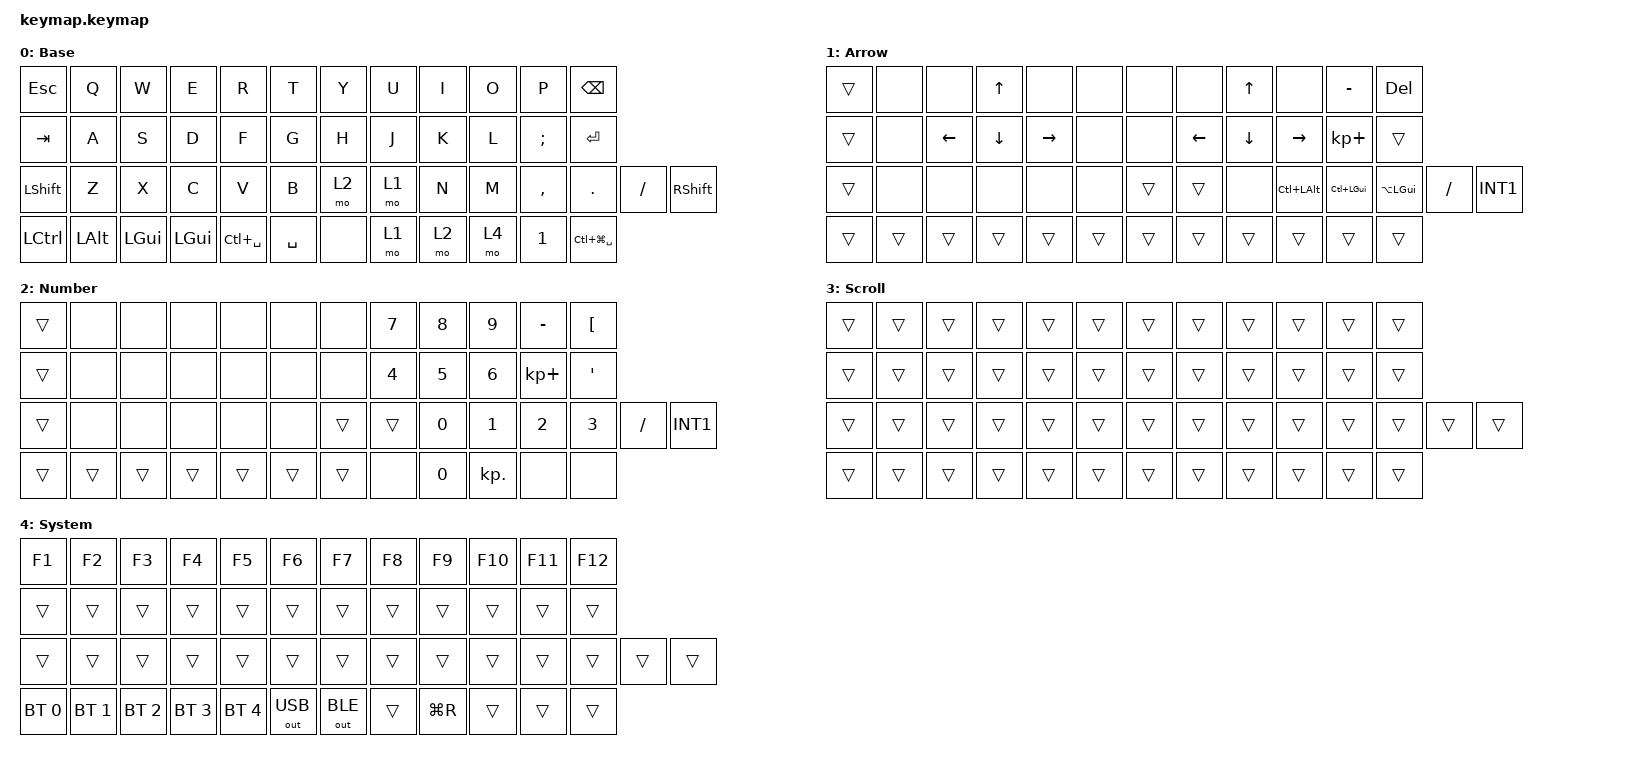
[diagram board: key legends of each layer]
#include <behaviors.dtsi>
#include <dt-bindings/zmk/bt.h>
#include <dt-bindings/zmk/keys.h>
#include <dt-bindings/zmk/outputs.h>
#include <dt-bindings/zmk/pointing.h>

/*
 * ZEN キーマップ
 *  0: 基本
 *  1: 矢印（右親指の内側2つ＝Nの左とその下）
 *  2: 数字・記号 ※記号はMacのキーボード種類=JIS前提
 *  3: スクロール（押している間、ボールでスクロール）
 *  4: システム（F1〜F12・Bluetooth切替）
 */

/ {
    macros {
        // Q+W+E：⌘⇧4 → 200ms待ち → スペース（ウインドウのスクリーンショット）

        ss_window: ss_window {
            compatible = "zmk,behavior-macro";
            #binding-cells = <0>;
            wait-ms = <30>;
            tap-ms = <30>;
            bindings = <&kp LS(LG(N4))>, <&macro_wait_time 200>, <&kp SPACE>;
        };
    };

    combos {
        compatible = "zmk,combos";

        // ---- 日本語入力 ----

        kana {
            timeout-ms = <50>;
            key-positions = <19 20>;
            bindings = <&kp LANG1>;
            layers = <0>;
        };       // J+K → かな
        eisu {
            timeout-ms = <50>;
            key-positions = <15 16>;
            bindings = <&kp LANG2>;
            layers = <0>;
        };       // D+F → 英数
        // ---- マウス ----
        lclick {
            timeout-ms = <50>;
            key-positions = <32 33>;
            bindings = <&mkp LCLK>;
            layers = <0>;
        };   // N+M → 左クリック
        rclick {
            timeout-ms = <50>;
            key-positions = <33 34>;
            bindings = <&mkp RCLK>;
            layers = <0>;
        };   // M+, → 右クリック
        scroll {
            timeout-ms = <50>;
            key-positions = <34 35>;
            bindings = <&mo 3>;
            layers = <0>;
        };   // ,+. → 押している間スクロール
        back {
            timeout-ms = <50>;
            key-positions = <18 19>;
            bindings = <&kp LG(RBKT)>;
            layers = <0>;
        };   // H+J → 戻る（JIS）
        forward {
            timeout-ms = <50>;
            key-positions = <20 21>;
            bindings = <&kp LG(NON_US_HASH)>;
            layers = <0>;
        };   // K+L → 進む（JIS）
        reload {
            timeout-ms = <100>;
            key-positions = <46 47>;
            bindings = <&kp LG(R)>;
            layers = <0>;
        };   // 数字キー+システムキー（右親指）→ 再読み込み
        // ---- 編集 ----

        cut {
            timeout-ms = <50>;
            key-positions = <25 26>;
            bindings = <&kp LG(X)>;
            layers = <0>;
        };       // Z+X → カット
        copy {
            timeout-ms = <50>;
            key-positions = <26 27>;
            bindings = <&kp LG(C)>;
            layers = <0>;
        };       // X+C → コピー
        paste {
            timeout-ms = <50>;
            key-positions = <27 28>;
            bindings = <&kp LG(V)>;
            layers = <0>;
        };       // C+V → 貼り付け
        cliphist {
            timeout-ms = <50>;
            key-positions = <26 28>;
            bindings = <&kp LC(LG(V))>;
            layers = <0>;
        }; // X+V → クリップボード履歴
        minus {
            timeout-ms = <50>;
            key-positions = <9 10>;
            bindings = <&kp MINUS>;
            layers = <0>;
        };        // O+P → -
        // ---- スクリーンショット ----

        ss_full {
            timeout-ms = <50>;
            key-positions = <1 2 3 4>;
            bindings = <&kp LS(LG(N3))>;
            layers = <0>;
        }; // Q+W+E+R → ⌘⇧3
        ss_win {
            timeout-ms = <50>;
            key-positions = <1 2 3>;
            bindings = <&ss_window>;
            layers = <0>;
        };       // Q+W+E → ウインドウ
        ss_area {
            timeout-ms = <50>;
            key-positions = <2 3 4>;
            bindings = <&kp LS(LG(N4))>;
            layers = <0>;
        };   // W+E+R → ⌘⇧4
        ss_panel {
            timeout-ms = <50>;
            key-positions = <2 3 4 5>;
            bindings = <&kp LS(LG(N5))>;
            layers = <0>;
        }; // W+E+R+T → ⌘⇧5
        // ---- ウインドウ・タブ ----

        app_switch {
            timeout-ms = <50>;
            key-positions = <7 8 9>;
            bindings = <&kp LG(TAB)>;
            layers = <0>;
        };       // U+I+O → アプリ切替
        mission {
            timeout-ms = <50>;
            key-positions = <7 8 9 10>;
            bindings = <&kp LC(UP)>;
            layers = <0>;
        };     // U+I+O+P → Mission Control
        close_win {
            timeout-ms = <50>;
            key-positions = <8 9 10>;
            bindings = <&kp LS(LG(W))>;
            layers = <0>;
        };    // I+O+P → ウインドウを閉じる
        close_tab {
            timeout-ms = <50>;
            key-positions = <9 10 11>;
            bindings = <&kp LG(W)>;
            layers = <0>;
        };       // O+P+BS → タブを閉じる
        minimize {
            timeout-ms = <50>;
            key-positions = <33 34 35>;
            bindings = <&kp LG(M)>;
            layers = <0>;
        };   // M+,+. → 最小化
        // ---- ⌃⌥ 系（ウインドウ配置など）----

        cae_enter {
            timeout-ms = <50>;
            key-positions = <19 20 21 22>;
            bindings = <&kp LC(LA(RET))>;
            layers = <0>;
        };   // J+K+L+; → ⌃⌥Enter
        cae_left {
            timeout-ms = <50>;
            key-positions = <18 19 20 21>;
            bindings = <&kp LC(LA(LEFT))>;
            layers = <0>;
        };  // H+J+K+L → ⌃⌥←
        cae_right {
            timeout-ms = <50>;
            key-positions = <20 21 22 23>;
            bindings = <&kp LC(LA(RIGHT))>;
            layers = <0>;
        }; // K+L+;+Enter → ⌃⌥→
        cae_j {
            timeout-ms = <50>;
            key-positions = <18 19 20>;
            bindings = <&kp LC(LA(J))>;
            layers = <0>;
        };        // H+J+K → ⌃⌥J
        cae_l {
            timeout-ms = <50>;
            key-positions = <20 21 22>;
            bindings = <&kp LC(LA(L))>;
            layers = <0>;
        };        // K+L+; → ⌃⌥L
        f13 {
            timeout-ms = <50>;
            key-positions = <19 20 21>;
            bindings = <&kp F13>;
            layers = <0>;
        };              // J+K+L → F13
        // ---- ZEN標準：システムレイヤーで V+B → 今のBT接続先をクリア ----

        bt_clear {
            key-positions = <28 29>;
            bindings = <&bt BT_CLR>;
            layers = <4>;
        };
    };

    keymap {
        compatible = "zmk,keymap";

        default_layer {
            display-name = "Base";
            bindings = <
&kp ESC    &kp Q     &kp W     &kp E         &kp R          &kp T      &kp Y  &kp U   &kp I  &kp O  &kp P      &kp BSPC
&kp TAB    &kp A     &kp S     &kp D         &kp F          &kp G      &kp H  &kp J   &kp K  &kp L  &kp SEMI   &kp RET
&kp LSHFT  &kp Z     &kp X     &kp C         &kp V          &kp B      &mo 2  &mo 1  &kp N  &kp M  &kp COMMA  &kp DOT            &kp FSLH  &kp RSHFT
&kp LCTRL  &kp LALT  &kp LGUI  &kp LEFT_GUI  &kp LC(SPACE)  &kp SPACE  &none  &mo 1   &mo 2  &mo 4  &kp N1     &kp LC(LG(SPACE))
            >;
        };

        arrow_layer {
            display-name = "Arrow";
            bindings = <
&trans  &none   &none     &kp UP    &none            &none   &none   &none     &kp UP    &none         &kp MINUS     &kp DEL
&trans  &none   &kp LEFT  &kp DOWN  &kp RIGHT_ARROW  &none   &none   &kp LEFT  &kp DOWN  &kp RIGHT     &kp KP_PLUS   &trans
&trans  &none   &none     &none     &none            &none   &trans  &trans    &none     &kp LC(LALT)  &kp LC(LGUI)  &kp LA(LGUI)  &kp FSLH  &kp INT1
&trans  &trans  &trans    &trans    &trans           &trans  &trans  &trans    &trans    &trans        &trans        &trans
            >;
        };

        number_layer {
            display-name = "Number";
            bindings = <
&trans  &none   &none   &none   &none   &none   &none   &kp N7  &kp N8  &kp N9      &kp MINUS    &kp LEFT_BRACKET
&trans  &none   &none   &none   &none   &none   &none   &kp N4  &kp N5  &kp N6      &kp KP_PLUS  &kp SQT
&trans  &none   &none   &none   &none   &none   &trans  &trans  &kp N0  &kp N1      &kp N2       &kp N3            &kp FSLH  &kp INT1
&trans  &trans  &trans  &trans  &trans  &trans  &trans  &none   &kp N0  &kp KP_DOT  &none        &none
            >;
        };

        scroll_layer {
            display-name = "Scroll";
            bindings = <
&trans  &trans  &trans  &trans  &trans  &trans  &trans  &trans  &trans  &trans  &trans  &trans
&trans  &trans  &trans  &trans  &trans  &trans  &trans  &trans  &trans  &trans  &trans  &trans
&trans  &trans  &trans  &trans  &trans  &trans  &trans  &trans  &trans  &trans  &trans  &trans  &trans  &trans
&trans  &trans  &trans  &trans  &trans  &trans  &trans  &trans  &trans  &trans  &trans  &trans
            >;
        };

        system_layer {
            display-name = "System";
            bindings = <
&kp F1        &kp F2        &kp F3        &kp F4        &kp F5        &kp F6  &kp F7  &kp F8  &kp F9  &kp F10  &kp F11  &kp F12
&trans        &trans        &trans        &trans        &trans        &trans  &trans  &trans  &trans  &trans   &trans   &trans
&trans        &trans        &trans        &trans        &trans        &trans  &trans  &trans  &trans  &trans   &trans   &trans  &trans  &trans
&bt BT_SEL 0  &bt BT_SEL 1  &bt BT_SEL 2  &bt BT_SEL 3  &bt BT_SEL 4  &out OUT_USB  &out OUT_BLE  &trans  &kp LG(R)  &trans  &trans  &trans
            >;
        };
    };
};
